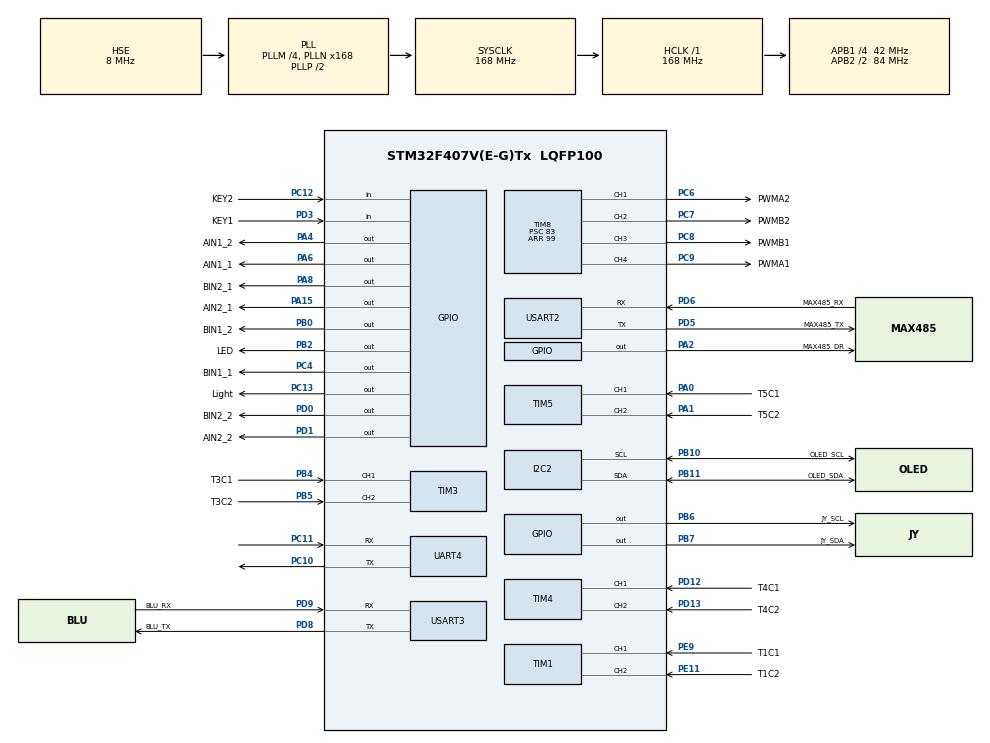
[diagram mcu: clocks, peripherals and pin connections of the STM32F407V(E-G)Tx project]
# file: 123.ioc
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Dma.I2C2_TX.0.Direction=DMA_MEMORY_TO_PERIPH
Dma.I2C2_TX.0.FIFOMode=DMA_FIFOMODE_DISABLE
Dma.I2C2_TX.0.Instance=DMA1_Stream7
Dma.I2C2_TX.0.MemDataAlignment=DMA_MDATAALIGN_BYTE
Dma.I2C2_TX.0.MemInc=DMA_MINC_ENABLE
Dma.I2C2_TX.0.Mode=DMA_NORMAL
Dma.I2C2_TX.0.PeriphDataAlignment=DMA_PDATAALIGN_BYTE
Dma.I2C2_TX.0.PeriphInc=DMA_PINC_DISABLE
Dma.I2C2_TX.0.Priority=DMA_PRIORITY_LOW
Dma.Request0=I2C2_TX
I2C2.I2C_Mode=I2C_Fast
Mcu.Family=STM32F4
Mcu.Name=STM32F407V(E-G)Tx
Mcu.Package=LQFP100
NVIC.DMA1_Stream7_IRQn=true\:0\:0\:false\:false\:true\:false\:true\:true
NVIC.I2C2_ER_IRQn=true\:0\:0\:false\:false\:true\:true\:true\:true
NVIC.I2C2_EV_IRQn=true\:0\:0\:false\:false\:true\:true\:true\:true
NVIC.PriorityGroup=NVIC_PRIORITYGROUP_4
NVIC.TIM1_BRK_TIM9_IRQn=true\:0\:0\:false\:false\:true\:true\:true\:true
NVIC.UART4_IRQn=true\:0\:0\:false\:false\:true\:true\:true\:true
NVIC.USART2_IRQn=true\:0\:0\:false\:false\:true\:true\:true\:true
NVIC.USART3_IRQn=true\:0\:0\:false\:false\:true\:true\:true\:true
PA0-WKUP.GPIO_Label=T5C1
PA0-WKUP.Signal=S_TIM5_CH1
PA1.GPIO_Label=T5C2
PA1.Signal=S_TIM5_CH2
PA13.Mode=Serial_Wire
PA13.Signal=SYS_JTMS-SWDIO
PA14.Mode=Serial_Wire
PA14.Signal=SYS_JTCK-SWCLK
PA15.GPIO_Label=AIN2_1
PA15.Signal=GPIO_Output
PA2.GPIO_Label=MAX485_DR
PA2.GPIO_PuPd=GPIO_PULLDOWN
PA2.Signal=GPIO_Output
PA4.GPIO_Label=AIN1_2
PA4.GPIO_PuPd=GPIO_NOPULL
PA4.Signal=GPIO_Output
PA6.GPIO_Label=AIN1_1
PA6.GPIO_PuPd=GPIO_NOPULL
PA6.Signal=GPIO_Output
PA8.GPIO_Label=BIN2_1
PA8.Signal=GPIO_Output
PB0.GPIO_Label=BIN1_2
PB0.Signal=GPIO_Output
PB10.GPIO_Label=OLED_SCL
PB10.Mode=I2C
PB10.Signal=I2C2_SCL
PB11.GPIO_Label=OLED_SDA
PB11.Mode=I2C
PB11.Signal=I2C2_SDA
PB2.GPIO_Label=LED
PB2.GPIO_ModeDefaultOutputPP=GPIO_MODE_OUTPUT_PP
PB2.GPIO_PuPd=GPIO_PULLDOWN
PB2.PinState=GPIO_PIN_RESET
PB2.Signal=GPIO_Output
PB4.GPIO_Label=T3C1
PB4.Signal=S_TIM3_CH1
PB5.GPIO_Label=T3C2
PB5.Signal=S_TIM3_CH2
PB6.GPIO_Label=JY_SCL
PB6.GPIO_ModeDefaultOutputPP=GPIO_MODE_OUTPUT_OD
PB6.GPIO_PuPd=GPIO_NOPULL
PB6.Signal=GPIO_Output
PB7.GPIO_Label=JY_SDA
PB7.Signal=GPIO_Output
PC10.GPIO_Speed=GPIO_SPEED_FREQ_HIGH
PC10.Mode=Asynchronous
PC10.Signal=UART4_TX
PC11.GPIO_PuPd=GPIO_PULLUP
PC11.GPIO_Speed=GPIO_SPEED_FREQ_HIGH
PC11.Mode=Asynchronous
PC11.Signal=UART4_RX
PC12.GPIO_Label=KEY2
PC12.GPIO_Mode=GPIO_MODE_INPUT
PC12.GPIO_PuPd=GPIO_PULLUP
PC12.Signal=GPIO_Input
PC13-ANTI_TAMP.GPIO_Label=Light
PC13-ANTI_TAMP.GPIO_ModeDefaultOutputPP=GPIO_MODE_OUTPUT_PP
PC13-ANTI_TAMP.GPIO_PuPd=GPIO_PULLDOWN
PC13-ANTI_TAMP.Signal=GPIO_Output
PC14-OSC32_IN.Mode=LSE-External-Oscillator
PC14-OSC32_IN.Signal=RCC_OSC32_IN
PC15-OSC32_OUT.Mode=LSE-External-Oscillator
PC15-OSC32_OUT.Signal=RCC_OSC32_OUT
PC4.GPIO_Label=BIN1_1
PC4.Signal=GPIO_Output
PC6.GPIO_Label=PWMA2
PC6.Signal=S_TIM8_CH1
PC7.GPIO_Label=PWMB2
PC7.Signal=S_TIM8_CH2
PC8.GPIO_Label=PWMB1
PC8.Signal=S_TIM8_CH3
PC9.GPIO_Label=PWMA1
PC9.Signal=S_TIM8_CH4
PD0.GPIO_Label=BIN2_2
PD0.Signal=GPIO_Output
PD1.GPIO_Label=AIN2_2
PD1.Signal=GPIO_Output
PD12.GPIO_Label=T4C1
PD12.Signal=S_TIM4_CH1
PD13.GPIO_Label=T4C2
PD13.Signal=S_TIM4_CH2
PD3.GPIO_Label=KEY1
PD3.GPIO_PuPd=GPIO_PULLUP
PD3.Signal=GPIO_Input
PD5.GPIO_Label=MAX485_TX
PD5.Mode=Asynchronous
PD5.Signal=USART2_TX
PD6.GPIO_Label=MAX485_RX
PD6.GPIO_PuPd=GPIO_PULLUP
PD6.Mode=Asynchronous
PD6.Signal=USART2_RX
PD8.GPIO_Label=BLU_TX
PD8.Mode=Asynchronous
PD8.Signal=USART3_TX
PD9.GPIO_Label=BLU_RX
PD9.GPIO_PuPd=GPIO_PULLUP
PD9.Mode=Asynchronous
PD9.Signal=USART3_RX
PE11.GPIO_Label=T1C2
PE11.Signal=S_TIM1_CH2
PE9.GPIO_Label=T1C1
PE9.GPIO_ModeDefaultPP=GPIO_MODE_AF_PP
PE9.Signal=S_TIM1_CH1
PH0-OSC_IN.Mode=HSE-External-Oscillator
PH0-OSC_IN.Signal=RCC_OSC_IN
PH1-OSC_OUT.Mode=HSE-External-Oscillator
PH1-OSC_OUT.Signal=RCC_OSC_OUT
ProjectManager.HeapSize=0x200
ProjectManager.StackSize=0x400
ProjectManager.TargetToolchain=MDK-ARM V5.32
RCC.48MHZClocksFreq_Value=84000000
RCC.AHBFreq_Value=168000000
RCC.APB1CLKDivider=RCC_HCLK_DIV4
RCC.APB1Freq_Value=42000000
RCC.APB1TimFreq_Value=84000000
RCC.APB2CLKDivider=RCC_HCLK_DIV2
RCC.APB2Freq_Value=84000000
RCC.APB2TimFreq_Value=168000000
RCC.CortexFreq_Value=168000000
RCC.HCLKFreq_Value=168000000
RCC.HSE_VALUE=8000000
RCC.HSI_VALUE=16000000
RCC.PLLM=4
RCC.PLLN=168
RCC.PLLSourceVirtual=RCC_PLLSOURCE_HSE
RCC.SYSCLKFreq_VALUE=168000000
RCC.SYSCLKSource=RCC_SYSCLKSOURCE_PLLCLK
RCC.VCOOutputFreq_Value=336000000
SH.S_TIM1_CH1.0=TIM1_CH1,Encoder_Interface
SH.S_TIM1_CH2.0=TIM1_CH2,Encoder_Interface
SH.S_TIM3_CH1.0=TIM3_CH1,Encoder_Interface
SH.S_TIM3_CH2.0=TIM3_CH2,Encoder_Interface
SH.S_TIM4_CH1.0=TIM4_CH1,Encoder_Interface
SH.S_TIM4_CH2.0=TIM4_CH2,Encoder_Interface
SH.S_TIM5_CH1.0=TIM5_CH1,Encoder_Interface
SH.S_TIM5_CH2.0=TIM5_CH2,Encoder_Interface
SH.S_TIM8_CH1.0=TIM8_CH1,PWM Generation1 CH1
SH.S_TIM8_CH2.0=TIM8_CH2,PWM Generation2 CH2
SH.S_TIM8_CH3.0=TIM8_CH3,PWM Generation3 CH3
SH.S_TIM8_CH4.0=TIM8_CH4,PWM Generation4 CH4
TIM1.EncoderMode=TIM_ENCODERMODE_TI12
TIM3.EncoderMode=TIM_ENCODERMODE_TI12
TIM4.EncoderMode=TIM_ENCODERMODE_TI12
TIM5.EncoderMode=TIM_ENCODERMODE_TI12
TIM8.Channel-PWM\ Generation1\ CH1=TIM_CHANNEL_1
TIM8.Channel-PWM\ Generation2\ CH2=TIM_CHANNEL_2
TIM8.Channel-PWM\ Generation3\ CH3=TIM_CHANNEL_3
TIM8.Channel-PWM\ Generation4\ CH4=TIM_CHANNEL_4
TIM8.Period=99
TIM8.Prescaler=83
TIM9.Period=167
TIM9.Prescaler=999
UART4.VirtualMode=Asynchronous
USART2.VirtualMode=VM_ASYNC
USART3.VirtualMode=VM_ASYNC
VP_TIM9_VS_ClockSourceINT.Mode=Internal
board=custom

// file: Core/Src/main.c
/* USER CODE BEGIN Header */
/**
  ******************************************************************************
  * @file           : main.c
  * @brief          : Main program body
  ******************************************************************************
  * @attention
  *
  * Copyright (c) 2026 STMicroelectronics.
  * All rights reserved.
  *
  * This software is licensed under terms that can be found in the LICENSE file
  * in the root directory of this software component.
  * If no LICENSE file comes with this software, it is provided AS-IS.
  *
  ******************************************************************************
  */
/* USER CODE END Header */
#include "main.h"
#include "dma.h"
#include "i2c.h"
#include "tim.h"
#include "usart.h"
#include "gpio.h"

/* USER CODE BEGIN Includes */
#include <stdio.h>
#include "OLED.h"
#include "JY61P.h"
#include "elog.h"
#include "Key.h"
#include "LED.h"
#include "LASER.h"
#include "motor.h"
#include "ENCODER.h"
#include "Timer.h"
#include "Serial.h"
#include "Chassis.h"
#include "ServoArm.h"
#include "MissionControl.h"
#include "ArmUartTest.h"   /* 机械臂串口(USART2)收发自检, 见文件内 ARM_UART_TEST_MODE */
/* USER CODE END Includes */

/* USER CODE BEGIN PD */
/* JY61P 陀螺仪上电收敛时间(ms): 冷启动需数秒内部收敛(否则首次上电 roll 有
 * 大→小漂移, 且 yaw 不可靠)。此时间内: 程序不启动任务(按 KEY1 会提示等待),
 * 姿态角也不更新到 OLED。
 * 取值/推荐: 3000~6000(默认 4000)。
 * 影响: 设太小→陀螺仪没稳就跑, 每次上电跑法不一致;
 *       设太大→上电后要多等一会才能开始比赛。若更换姿态传感器型号可再调。 */
#define JY_WARMUP_MS  4000
/* USER CODE END PD */

/* USER CODE BEGIN PV */
static uint32_t oledTick = 0;   /* OLED 上次刷新时刻 */
#if !ARM_UART_TEST_MODE
static uint32_t imuTick = 0;    /* 航向角(yaw)快速读取时刻 */
/* 调试模式(视觉/机械臂)下屏蔽周期性状态日志, 免得淹没收发日志 */
#if !MISSION_DEBUG_VISION_TASK && !MISSION_DEBUG_ARM_SEQ
static uint32_t logTick = 0;    /* 串口/蓝牙日志上次打印时刻 */
static uint32_t dbgTick = 0;    /* 底盘调试日志上次打印时刻 */
static bool     demoRun = false;/* 底盘演示是否运行 (KEY1 切换) */
#endif
#endif
static JY61P_Driver *jy61p = NULL;
/* USER CODE END PV */

void SystemClock_Config(void);
/* USER CODE BEGIN PFP */
static void MotorTest(void);
static void JY61P_Test(void);
static void JY61P_ReadAngles(void);
static void JY61P_ReadYaw(void);
/* USER CODE END PFP */

/* USER CODE BEGIN 0 */

/**
 * @brief  电机自检：逐个电机正转/反转短时间，OLED + 串口显示进度
 * @note   当前已注释调用(KEY1 改为底盘演示), 保留函数备标定使用
 */
static void __attribute__((unused)) MotorTest(void)
{
  const int16_t duty = 30;   /* 占空比 30/99 ≈ 30% */
  char line[24];

  elog_i("MOTOR", "=== Motor + Encoder test start ===");
  Chassis_Suspend();   /* 挂起底盘闭环, 避免覆盖手动 PWM / 编码器计数跳变 */
  for (uint8_t m = MOTOR_1; m <= MOTOR_4; m++)
  {
    int32_t enc;
    LED_ON();
    OLED_Clear();
    OLED_ShowString(0, 0, "MotorTest", OLED_8X16);

    /* forward向前: drive motor then read encoder delta */
    Encoder_ResetCount(m);
    snprintf(line, sizeof(line), "M%d FWD", m);
    OLED_ShowString(0, 16, line, OLED_8X16);
    OLED_Update();
    Set_PWM(m, duty);
    HAL_Delay(600);
    Set_PWM(m, 0);
    enc = Encoder_GetCount(m);
    elog_i("MOTOR", "M%d FWD PWM=%d ENC=%ld", m, duty, (long)enc);
    HAL_Delay(150);

    /* reverse反转: drive motor then read encoder delta */
    Encoder_ResetCount(m);
    snprintf(line, sizeof(line), "M%d REV", m);
    OLED_ShowString(0, 16, line, OLED_8X16);
    OLED_Update();
    Set_PWM(m, -duty);
    HAL_Delay(600);
    Set_PWM(m, 0);
    enc = Encoder_GetCount(m);
    elog_i("MOTOR", "M%d REV PWM=%d ENC=%ld", m, -duty, (long)enc);
    HAL_Delay(200);
  }
  Chassis_Resume();   /* 恢复底盘闭环(重新同步编码器并清零位置) */
  LED_OFF();
  elog_i("MOTOR", "=== Motor + Encoder test done ===");
  OLED_Clear();
  OLED_ShowString(0, 0, "Test Done", OLED_8X16);
  OLED_Update();
}

/**
 * @brief  JY61P 初始化（软件 I2C: SCL=PB6, SDA=PB7, 地址 0x50）
 */
static void JY61P_Test(void)
{
  jy61p = JY61P_Create(0x50, GPIOB, GPIO_PIN_6, GPIOB, GPIO_PIN_7);
  if (jy61p == NULL)
  {
    elog_e("JY", "JY61P create failed");
    return;
  }
  jy61p->fun->Init(jy61p);
  elog_i("JY", "JY61P init OK (addr=0x50, SW I2C PB6/PB7)");

  /* 探测 I2C 设备是否应答 */
  if (JY61P_Check(jy61p))
  {
    elog_i("JY", "I2C detect: OK (device ACK)");
  }
  else
  {
    elog_e("JY", "I2C detect: FAIL (no ACK)");
    elog_e("JY", "Check wiring/power; or increase MYI2C_DELAY_CNT in MyI2C.c");
  }
}

/**
 * @brief  读取 JY61P 三个姿态角到 var
 */
static void __attribute__((unused)) JY61P_ReadAngles(void)
{
  if (jy61p != NULL)
  {
    jy61p->fun->ROLL_GET(jy61p);
    jy61p->fun->PITCH_GET(jy61p);
    jy61p->fun->YAW_GET(jy61p);
  }
}

/**
 * @brief  仅读取 JY61P 航向角 yaw (底盘转向闭环用, 高频调用)
 */
static void __attribute__((unused)) JY61P_ReadYaw(void)
{
  if (jy61p != NULL)
  {
    jy61p->fun->YAW_GET(jy61p);
  }
}

#if !ARM_UART_TEST_MODE
/**
 * @brief  机械臂动作阻塞等待期间的回调: 刷新陀螺仪 yaw
 * @note   由 Mission_SetYawPollHook() 注入, 供 MissionControl.c 的
 *         Mission_Coop_Wait() 在摆臂的几秒里周期性调用。
 *         不刷的话: TIM9 里的航向/转向闭环一直读到冻结的角度 →
 *         原地转向的 s_turn_remaining 永远减不下去 → 车会一直自转。
 */
static void ArmWait_PollYaw(void)
{
  if (HAL_GetTick() >= JY_WARMUP_MS)
  {
    JY61P_ReadYaw();
  }
}
#endif /* !ARM_UART_TEST_MODE */

/* USER CODE END 0 */

int main(void)
{

  /* MCU Configuration--------------------------------------------------------*/

  /* Reset of all peripherals, Initializes the Flash interface and the Systick. */
  HAL_Init();

  /* Configure the system clock */
  SystemClock_Config();

  /* Initialize all configured peripherals */
  MX_GPIO_Init();
  MX_DMA_Init();
  MX_USART3_UART_Init();
  MX_I2C2_Init();
  MX_TIM1_Init();
  MX_TIM3_Init();
  MX_TIM4_Init();
  MX_TIM5_Init();
  MX_TIM8_Init();
  MX_UART4_Init();
  MX_TIM9_Init();
  MX_USART2_UART_Init();
  /* USER CODE BEGIN 2 */
  /* ---- Hardware 外设初始化（GPIO/TIM/UART 已由 MX_xxx_Init 完成） ---- */
  OLED_Init();      /* I2C2 OLED */
  LED_Init();       /* PB2 高电平亮 */
  Laser_Init();     /* PC13 激光，默认关 */
  Timer_Init();     /* TIM9 1ms 定时中断，内部驱动 Key_Tick() */
  Key_Init();       /* KEY1=PD3, KEY2=PC12 */
  Motor_Init();     /* TIM8 四路 PWM + 编码器启动 */
  Serial_Init();    /* UART4 与 K230 通信串口(PC10/PC11) */
#if ARM_UART_TEST_MODE
  /* ===== 机械臂串口自检模式: 小车(底盘 + 任务状态机)全部不启用 =====
   *  - 不调用 Chassis_Init()  : 底盘闭环不运行 → 电机不会有任何输出
   *  - 不调用 Mission_Init()  : 不会发出任何走位/抓取指令
   *  - 不调用 ServoArm_Init() : 上电不会让机械臂回初始姿态(防误动/夹手)
   *  - 保留 Motor_Init()      : 只为把 4 路方向脚钳在低电平
   *                             (引脚浮空反而可能被干扰误触发) */
  for (uint8_t m = MOTOR_1; m <= MOTOR_4; m++)
  {
    Set_PWM(m, 0);           /* 占空比 0: 电机不转, 仅钳住方向脚 */
  }
  /* 舵机串口自检的初始化(Uart_Init/打印提示/刷屏)放在下面 elog 初始化之后 */
#else
#if MISSION_TEST_NO_ARM
  /* 测试阶段: 跳过机械臂初始化(不动舵机) */
#else
  ServoArm_Init();  /* 飞特舵机机械臂(USART2 直连官方驱动板) */
#endif
  Mission_Init();   /* 任务状态机: 回初始姿态 */
#endif

  /* ---- EasyLogger: 输出到 USART3(PD8/PD9)，可接蓝牙透传到电脑 ---- */
  //轻量日志前置初始化
  elog_init();
  ELOG_FMT_TABLE();
  elog_start();
  elog_i("MAIN", "System boot, %lu MHz", (unsigned long)(SystemCoreClock / 1000000U));

  OLED_Clear();
  OLED_ShowString(0, 0, "STM32F407", OLED_8X16);
  OLED_ShowString(0, 16, "Init OK", OLED_8X16);
  OLED_Update();

  /* ---- JY61P 姿态传感器（软件 I2C: SCL=PB6, SDA=PB7） ---- */
  JY61P_Test();
  elog_i("JY", "Warm-up %u ms: discard boot garbage", (unsigned)JY_WARMUP_MS);

#if ARM_UART_TEST_MODE
  /* 自检模式: 底盘闭环/航向闭环/任务状态机均不初始化(小车不会动) */
  elog_i("MAIN", "ARM UART TEST MODE: car motion code disabled");
  ArmUartTest_Init();        /* 舵机串口 USART2 收发自检 */
#else
  /* ---- 底盘运动控制（麦克纳姆轮, 位置闭环） ---- */
  if (jy61p != NULL)
  {
    Chassis_SetYawSource(&jy61p->var.yaw);     /* 注入航向角数据源(转向闭环用) */
#if GYRO_BIAS_SCHEME
    /* ⭐ 2026-10-11: 注入 z 轴角速度源(零偏在线估计用)。
     * ⚠️ 只在【方案②】下注入 —— 方案①(默认)连数据源都不给, 保证零偏模块完全不工作。 */
    Chassis_SetGyroZSource(&jy61p->var.gz);
#endif
  }
  Chassis_Init();
  /* ⭐ 底盘最大平移速度(mm/s): 整场比赛所有走位的默认“车速”。
   * 取值范围/推荐: 100~600; 当前 200(兼顾速度与到位精度)。
   * 影响: 调大→跑得快但起步冲、到点刹停距离长、过坡/对准易超调;
   *       调小→稳但不赶时间时更稳, 比赛时间紧张时可酌情加大(如 250~300)。
   * 若只想让某一段更快, 不必改这里: 在 MissionControl.c 路线宏旁用
   * Chassis_Move_* 前的 Chassis_SetMaxSpeed 单独提速即可。 */
  Chassis_SetMaxSpeed(350);

  /* ---- ⭐ 注入“摆臂阻塞期间刷新陀螺仪 yaw”的回调 ----
   * Arm_GotoPose() 摆一次臂要阻塞好几秒; 期间底盘闭环跑在 TIM9 中断里,
   * 如果不继续刷 yaw, 航向/转向闭环会读到冻结角度(原地转向会转不完 → 车自转)。
   * 详见 MissionControl.c 的 Mission_Coop_Wait()。 */
  Mission_SetYawPollHook(ArmWait_PollYaw);

  elog_i("MAIN", "KEY1=Start  KEY2=YawZero  KEY2_LONG=ArmTeach");
#endif /* !ARM_UART_TEST_MODE */
  /* USER CODE END 2 */

  /* Infinite loop */
  /* USER CODE BEGIN WHILE */
  while (1)
  {
		LED_ON();
    /* USER CODE END WHILE */

    /* USER CODE BEGIN 3 */
#if ARM_UART_TEST_MODE
    /* ===== 机械臂串口自检模式 =====
     * 小车运动代码(底盘演示/任务状态机)整段不参与执行, 小车不会动。 */
    /* KEY1 按下 -> 对当前 ID 的舵机跑一轮串口收发测试(不发位置指令, 舵机不动) */
    if (Key_Check(KEY_1, KEY_DOWN))
    {
      ArmUartTest_Run();
    }
    /* KEY1 长按(约2s) -> 追加一次"动作测试"(需 ARM_TEST_MOVE_ENABLE=1, 否则只提示) */
    if (Key_Check(KEY_1, KEY_LONG))
    {
      ArmUartTest_MoveSelected();
    }
    /* K EY2 按下 -> 切换到下一个待测舵机 ID (1->2->3->4->5->1) */
    if (Key_Check(KEY_2, KEY_DOWN))
    {
      ArmUartTest_NextServo();
    }

    /* 每 200ms 刷新一次测试结果到 OLED */
    if (HAL_GetTick() - oledTick >= 200)
    {
      oledTick = HAL_GetTick();
      ArmUartTest_ShowOled();
    }
#else
    /* KEY1 按下 -> 启动/停止底盘演示 (原 MotorTest 已注释) */
    // if (Key_Check(KEY_1, KEY_DOWN))
    // {
    //   MotorTest();
    //   demoRun = !demoRun;
    //   if (demoRun)
    //   {
    //     Mission_Init();      /* 停止任务, 避免与演示冲突 */
    //     Chassis_Demo_Reset();
    //     elog_i("MAIN", "KEY1: demo START");
    //   }
    //   else
    //   {
    //     Chassis_Stop();
    //     elog_i("MAIN", "KEY1: demo STOP");
    //   }
    // }
    /* ---- 机械臂示教标定模式(联调期): KEY2 长按 进入/退出 ---- */
#if !MISSION_TEST_NO_ARM
    if (Key_Check(KEY_2, KEY_LONG))
    {
      if (ArmTeach_IsActive())
      {
        ArmTeach_Exit();
        elog_i("MAIN", "Arm teach EXIT (back to mission mode)");
      }
      else
      {
        ArmTeach_Enter();
        elog_i("MAIN", "Arm teach ENTER (KEY2=next, KEY1=write)");
      }
    }

    if (ArmTeach_IsActive())
    {
      /* 示教中: KEY2 = 切换动作数组, KEY1 = 读取当前位置并写入当前动作 */
      if (Key_Check(KEY_2, KEY_DOWN))
      {
        ArmTeach_NextAction();
      }
      if (Key_Check(KEY_1, KEY_DOWN))
      {
        ArmTeach_WriteCurrent();
      }
    }
    else
#endif /* !MISSION_TEST_NO_ARM */
    {
#if MISSION_DEBUG_ARM_SEQ
      /* ---- 机械臂动作单独调试: 底盘完全不动 ----
       * KEY1 第一次按 = 启动调试序列(step0), 之后每按一次 = 切到下一个动作。
       * ⚠️ 以前这里把 Mission_DebugArmStart() 整段注释掉了, 而
       *    Mission_DebugArmUpdate() 开头就是 if(s_armdbg_idle) return;
       *    → 序列永远处于“空闲”, 按 KEY1 不会执行任何动作。 */
      if (Key_Check(KEY_1, KEY_DOWN))
      {
        // if (Mission_DebugArmIsIdle())
        // {
        //   // Mission_DebugArmStart();   /* 尚未开始: 进入序列 */
        // }
        // else
        // {
          Mission_ChangeStep();      /* 已在序列中: 切到下一个动作 */
        // }
      }
      Mission_DebugArmUpdate();

#elif MISSION_DEBUG_VISION_TASK
#if MISSION_DEBUG_VISION_TASK == 5
      /* ---- 视觉串口链路监控: KEY1长按=run_task:2(靶), KEY1=run_task:1(球), KEY2=reset:0 ---- */
      if (Key_Check(KEY_1, KEY_LONG))
      {
        Mission_DebugVisionLinkSend(1);
      }
      if (Key_Check(KEY_1, KEY_DOWN))
      {
        Mission_DebugVisionLinkSend(2);
      }
      if (Key_Check(KEY_2, KEY_DOWN))
      {
        Mission_DebugVisionLinkSend(0);
      }
#else
      /* ---- 视觉单独调试: KEY1 触发一次对应目标对准(不跑路线、不动机械臂) ---- */
      if (Key_Check(KEY_1, KEY_DOWN))
      {
        Mission_DebugVisionStart();
      }
#endif
      Mission_DebugVisionUpdate();
#elif CHASSIS_ENC_CALIB
      /* ================= 编码器静态标定 (人工推车, 小车不会自己动) =================
       * 目标: 测"每轮走同样距离各报多少编码器计数" → 标定 Chassis.h 的
       *       CH_WHEEL_SCALE_*(报告里乘 1000 打印, 如 1027 → 填 1.027f)。
       * 步骤:
       *   ① KEY1 → 清零(内部自动挂起底盘, 电机不输出、不跑任务/机械臂)
       *   ② 用卷尺在地上量出 ENC_CALIB_DIST_MM, 沿【车头方向】把车直线推过去;
       *      推的过程中蓝牙每 500ms 打一次累计计数(live), 推到 1000mm 约 6622
       *   ③ KEY2 → 打印 I/CALIB 两行(四轮计数 + 建议系数)
       *   ④ 反向再推一次对比: 两次系数一致(差<0.5%)才用静态标定;
       *      两次差得多 / "有时 M1 多有时 M2 多" → 不是 counts/mm 问题, 别改
       *   ⑤ KEY1 长按 → 结束标定, 恢复正常闭环(长按时会先触发一次清零, 无妨)
       * ⚠️ 标定要开着 EIDE 重载+构建烧录, 完成后记得把 CHASSIS_ENC_CALIB 改回 0 */
      Chassis_CalibPoll();   /* 必须频繁调: 每次取一次编码器增量并累计 */
      if (Key_Check(KEY_1, KEY_DOWN))
      {
        Chassis_CalibStart();
        elog_i("CALIB", "已清零: 沿车头方向直线推 %.0f mm 后按 KEY2", (double)ENC_CALIB_DIST_MM);
      }
      if (Key_Check(KEY_1, KEY_LONG))
      {
        Chassis_CalibStop();
        elog_i("CALIB", "标定结束, 已恢复正常闭环");
      }
      if (Key_Check(KEY_2, KEY_DOWN))
      {
        Chassis_CalibReport((float)ENC_CALIB_DIST_MM);
      }
      if (Key_Check(KEY_2, KEY_LONG))
      {
        /* ---- 闭环直行, 测"实际走了多远"(修全局比例, 用卷尺量) ----
         * 用法: 车头对准卷尺 0 刻度 → 长按 KEY2 → 停稳后读卷尺实际距离 D_act。
         *       多测 2~3 次取平均(每次先按 KEY1 挂起、摆回 0 刻度)。
         * 结论怎么用:
         *   ① 四轮一起偏 (比如永远走 1015mm) → 是全局比例: 把四个
         *      CH_WHEEL_SCALE_* 同时乘 1000/D_act(≈0.985), 或者把
         *      CH_WHEEL_DIAMETER_MM 从 75 改成 75*D_act/1000(≈76.2)。
         *   ② 距离对但不直 → 那是轮间差异/打滑, 看 I/MOVE 日志的 e: 和 yaw。
         * ⚠️ 每次都会直行 1m, 留够场地。 */
        Chassis_CalibStop();                                          /* 退出挂起, 恢复闭环 */
        Chassis_SetHeadingRef(jy61p ? jy61p->var.yaw : 0.0f);         /* 以当前朝向为准, 免得边跑边纠 */
        Chassis_Move_Forward(ENC_CALIB_DIST_MM);
        elog_i("CALIB", "已直行 %d mm: 停稳后量卷尺 D_act, 看四个 scale 是否都要乘 %d/D_act",
               (int)ENC_CALIB_DIST_MM, (int)ENC_CALIB_DIST_MM);
      }
      if (HAL_GetTick() - dbgTick >= 500)
      {
        dbgTick = HAL_GetTick();
        elog_i("CALIB", "live(前进为正): FL=%ld FR=%ld BL=%ld BR=%ld",
               (long)Chassis_CalibAccum(0), (long)Chassis_CalibAccum(1),
               (long)Chassis_CalibAccum(2), (long)Chassis_CalibAccum(3));
      }
#else
      /* KEY1 按下 -> 启动比赛任务 */
      if (Key_Check(KEY_1, KEY_DOWN))
      {
        demoRun = false;
        if (HAL_GetTick() < JY_WARMUP_MS)
        {
          /* 陀螺仪未稳定前不启动任务, 保证每次上电跑法一致 */
          elog_i("MAIN", "JY61P warming up (%lu/%d ms), wait...",
                 (unsigned long)HAL_GetTick(), (int)JY_WARMUP_MS);
        }
        else
        {
          /* 启动前把当前朝向归零: 每次上电都以放置朝向为 0°, 跑法一致 */
          if (jy61p != NULL)
          {
            jy61p->fun->YAW_ZERO(jy61p);
            jy61p->var.yaw = 0;
            elog_i("MAIN", "Yaw auto-zero before mission");
          }
          Mission_Init();
          Mission_Start();
          elog_i("MAIN", "KEY1: mission START");
        }
      }
      /* KEY2 按下 -> JY61P 航向角归零 */
      if (Key_Check(KEY_2, KEY_DOWN))
      {
        if (jy61p != NULL)
        {
          elog_i("JY", "Yaw zeroing...");
          jy61p->fun->YAW_ZERO(jy61p);
          jy61p->var.yaw = 0;
          elog_i("JY", "Yaw zero done");
        }
      }

      /* 底盘演示(循环: 前进/横移/旋转/后退), KEY1 启动 */
      if (demoRun)
      {
        Chassis_Demo();

        /* 每 200ms 打印底盘调试信息(位置/目标/转向剩余), 方便诊断 */
        if (HAL_GetTick() - dbgTick >= 200)
        {
          dbgTick = HAL_GetTick();
          Chassis_DebugLog();
        }
      }
      else
      {
        Mission_Update();   /* 比赛任务主状态机(非演示时运行) */
      }
#endif /* 调试模式(ARM_SEQ / VISION_TASK) */
    }

    /* 每 20ms 快速读取航向角 yaw, 供底盘转向闭环使用 */
    if (HAL_GetTick() - imuTick >= 20)
    {
      imuTick = HAL_GetTick();
      if (HAL_GetTick() >= JY_WARMUP_MS)
      {
        JY61P_ReadYaw();
#if GYRO_BIAS_SCHEME
        /* ⭐ 2026-10-11: 同步读 z 轴角速度(零偏在线估计用)。
         * ⚠️ 只在方案②下读 —— 方案①不增加任何 I2C 事务, 时序与原来完全一致。 */
        if (jy61p != NULL) jy61p->fun->GZ_GET(jy61p);
#endif
      }
    }

    /* 每 100ms 读取姿态角并刷新 OLED */
    if (HAL_GetTick() - oledTick >= 100)
    {
      oledTick = HAL_GetTick();
      /* 上电前 JY_WARMUP_MS 丢弃乱码: 此时 var 保持0, OLED显示0 */
      if (HAL_GetTick() >= JY_WARMUP_MS)
      {
        JY61P_ReadAngles();
      }

      OLED_Clear();
      OLED_ShowString(0, 0, "R:", OLED_6X8);
      OLED_ShowFloatNum(24, 0,  (jy61p ? jy61p->var.roll  : 0), 3, 1, OLED_6X8);
      OLED_ShowString(0, 8,  "P:", OLED_6X8);
      OLED_ShowFloatNum(24, 8,  (jy61p ? jy61p->var.pitch : 0), 3, 1, OLED_6X8);
      OLED_ShowString(0, 16, "Y:", OLED_6X8);
      OLED_ShowFloatNum(24, 16, (jy61p ? jy61p->var.yaw   : 0), 3, 1, OLED_6X8);
      OLED_ShowString(0, 24, "ENC1-4:", OLED_6X8);
      OLED_ShowSignedNum(0,  32, Encoder_GetCount(1), 6, OLED_6X8);
      OLED_ShowSignedNum(48, 32, Encoder_GetCount(2), 6, OLED_6X8);
      OLED_ShowSignedNum(0,  40, Encoder_GetCount(3), 6, OLED_6X8);
      OLED_ShowSignedNum(48, 40, Encoder_GetCount(4), 6, OLED_6X8);
#if !MISSION_TEST_NO_ARM
      if (ArmTeach_IsActive())
      {
        OLED_ShowString(0, 48, "Teach:", OLED_6X8);
        OLED_ShowString(36, 48, (char *)ArmTeach_GetActionName(), OLED_6X8);
      }
      else
#endif
      {
        OLED_ShowString(0, 48, "S:", OLED_6X8);
        OLED_ShowNum(12, 48, (uint32_t)g_mission_state, 2, OLED_6X8);
      }
      /* 转向环 PID 调试(仅原地转向时有值): Si=I项瞬时, Ip=本次转向 I 项峰值(保持) */
      OLED_ShowString(0,  56, "Si:", OLED_6X8);
      OLED_ShowFloatNum(18, 56, Chassis_GetSteerITerm(), 3, 1, OLED_6X8);
      OLED_ShowString(60, 56, "Ip:", OLED_6X8);
      OLED_ShowFloatNum(78, 56, Chassis_GetSteerIPeak(), 3, 1, OLED_6X8);
      OLED_Update();
    }

    /* 每 500ms 经蓝牙串口(USART3)打印姿态角与编码器计数
     * (调试模式下屏蔽, 免得淹没视觉收发日志) */
#if !MISSION_DEBUG_VISION_TASK && !MISSION_DEBUG_ARM_SEQ && !CHASSIS_ENC_CALIB
    if (HAL_GetTick() - logTick >= 500)
    {
      logTick = HAL_GetTick();
      if (jy61p != NULL)
      {
        /* ⭐ 2026-10-11: 带上"I2C 事务失败次数" —— 排爆后那种"读数冻结/乱跳"
         * 如果是读失败造成的, 这个计数会一直涨(硬件/走线/供电问题);
         * 一直不涨却仍乱跳 ⇒ 是角度本身的问题(另一类)。 */
        elog_i("JY", "R=%.1f P=%.1f Y=%.1f I2Cerr=%lu",
               jy61p->var.roll, jy61p->var.pitch, jy61p->var.yaw,
               (unsigned long)JY61P_GetReadFailCount());
      }
      elog_i("ENC", "M1=%ld M2=%ld M3=%ld M4=%ld",
             (long)Encoder_GetCount(1), (long)Encoder_GetCount(2),
             (long)Encoder_GetCount(3), (long)Encoder_GetCount(4));
      Chassis_HeadingDebugLog();
#if GYRO_BIAS_SCHEME
      Chassis_GyroBias_DebugLog();   /* ⭐ 2026-10-11: 零偏估计 on/bias/corr/yaw/cyaw/slip */
#endif
      Chassis_SteerDebugLog();   /* 转向环 PID: err/P/I/D/out/积分值 */
    }
#endif
#endif /* !ARM_UART_TEST_MODE */
  }
  /* USER CODE END 3 */
}

void SystemClock_Config(void)
{
  RCC_OscInitTypeDef RCC_OscInitStruct = {0};
  RCC_ClkInitTypeDef RCC_ClkInitStruct = {0};

  /** Configure the main internal regulator output voltage
  */
  __HAL_RCC_PWR_CLK_ENABLE();
  __HAL_PWR_VOLTAGESCALING_CONFIG(PWR_REGULATOR_VOLTAGE_SCALE1);

  /** Initializes the RCC Oscillators according to the specified parameters
  * in the RCC_OscInitTypeDef structure.
  */
  RCC_OscInitStruct.OscillatorType = RCC_OSCILLATORTYPE_HSE;
  RCC_OscInitStruct.HSEState = RCC_HSE_ON;
  RCC_OscInitStruct.PLL.PLLState = RCC_PLL_ON;
  RCC_OscInitStruct.PLL.PLLSource = RCC_PLLSOURCE_HSE;
  RCC_OscInitStruct.PLL.PLLM = 4;
  RCC_OscInitStruct.PLL.PLLN = 168;
  RCC_OscInitStruct.PLL.PLLP = RCC_PLLP_DIV2;
  RCC_OscInitStruct.PLL.PLLQ = 4;
  if (HAL_RCC_OscConfig(&RCC_OscInitStruct) != HAL_OK)
  {
    Error_Handler();
  }

  /** Initializes the CPU, AHB and APB buses clocks
  */
  RCC_ClkInitStruct.ClockType = RCC_CLOCKTYPE_HCLK|RCC_CLOCKTYPE_SYSCLK
                              |RCC_CLOCKTYPE_PCLK1|RCC_CLOCKTYPE_PCLK2;
  RCC_ClkInitStruct.SYSCLKSource = RCC_SYSCLKSOURCE_PLLCLK;
  RCC_ClkInitStruct.AHBCLKDivider = RCC_SYSCLK_DIV1;
  RCC_ClkInitStruct.APB1CLKDivider = RCC_HCLK_DIV4;
  RCC_ClkInitStruct.APB2CLKDivider = RCC_HCLK_DIV2;

  if (HAL_RCC_ClockConfig(&RCC_ClkInitStruct, FLASH_LATENCY_5) != HAL_OK)
  {
    Error_Handler();
  }
}

void Error_Handler(void)
{
  __disable_irq();
  while (1)
  {
  }
}
